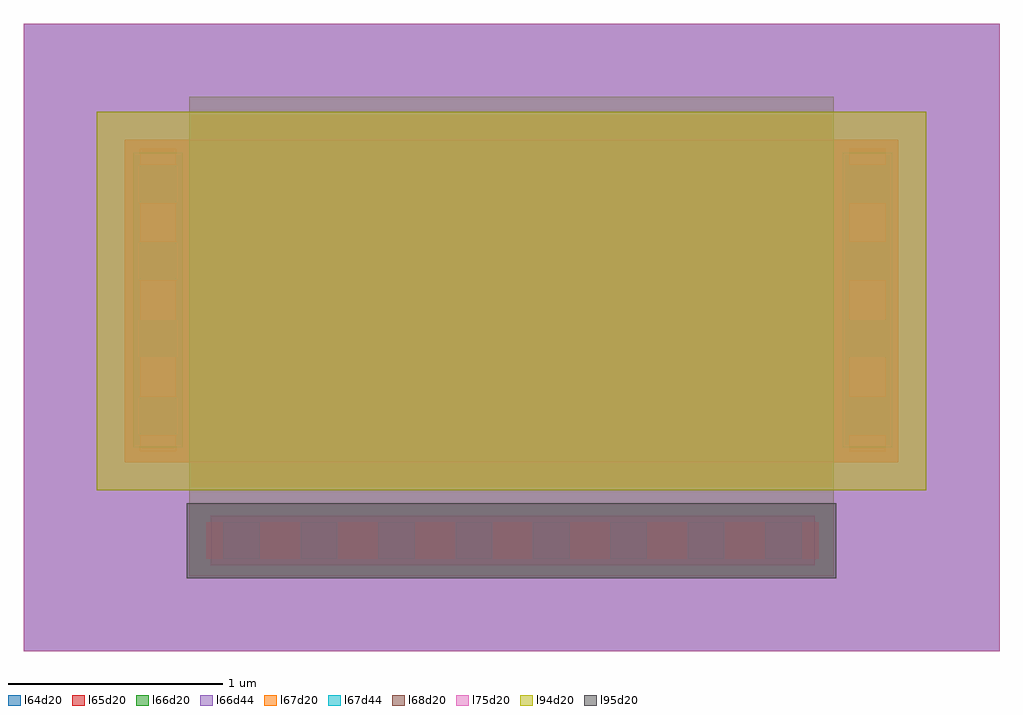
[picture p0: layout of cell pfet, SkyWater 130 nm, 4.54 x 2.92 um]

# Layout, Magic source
magic
tech sky130a
<< l65d20 >>
rect 0 0 360 150
<< l66d44 >>
rect 337 13 354 30
rect 337 49 354 66
rect 337 85 354 102
rect 337 121 354 138
rect 46 -45 63 -28
rect 82 -45 99 -28
rect 118 -45 135 -28
rect 154 -45 171 -28
rect 190 -45 207 -28
rect 226 -45 243 -28
rect 262 -45 279 -28
rect 298 -45 315 -28
rect 7 13 24 30
rect 7 49 24 66
rect 7 85 24 102
rect 7 121 24 138
<< l67d20 >>
rect 337 5 354 146
rect 38 -45 323 -28
rect 7 5 24 146
<< l67d44 >>
rect 337 13 354 30
rect 337 49 354 66
rect 337 85 354 102
rect 337 121 354 138
rect 46 -45 63 -28
rect 82 -45 99 -28
rect 118 -45 135 -28
rect 154 -45 171 -28
rect 190 -45 207 -28
rect 226 -45 243 -28
rect 262 -45 279 -28
rect 298 -45 315 -28
rect 7 13 24 30
rect 7 49 24 66
rect 7 85 24 102
rect 7 121 24 138
<< l68d20 >>
rect 334 7 357 144
rect 40 -48 321 -25
rect 4 7 27 144
<< l66d20 >>
rect 30 -53 330 -20
rect 30 -20 330 170
<< l95d20 >>
rect 29 -54 331 -19
<< l94d20 >>
rect -13 -13 373 163
<< l64d20 >>
rect -47 -88 407 204
<< l75d20 >>
rect -47 -88 407 204
<< end >>
